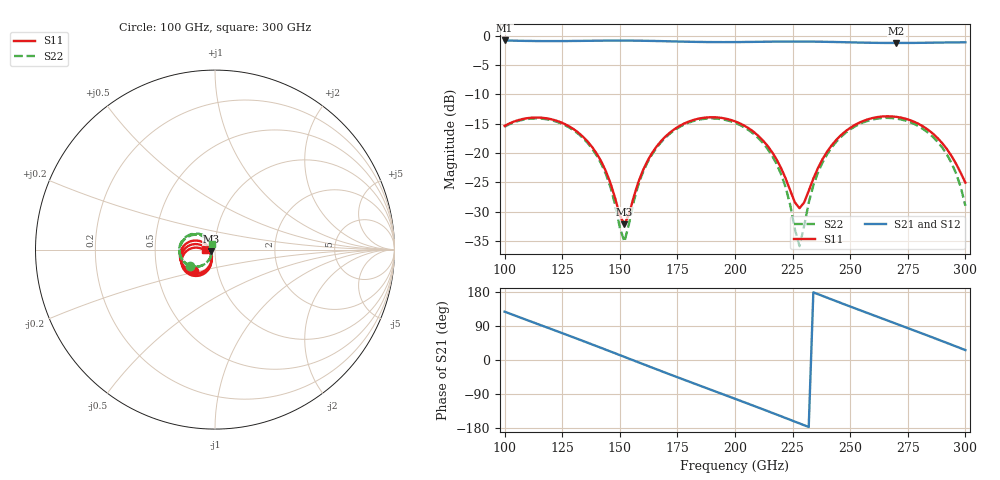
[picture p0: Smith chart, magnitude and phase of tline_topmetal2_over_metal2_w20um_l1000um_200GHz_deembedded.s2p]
! Created with skrf 2.0.1 (http://scikit-rf.org).
# GHz S DB R 50.0
!freq dBS11 angS11 dBS21 angS21 dBS12 angS12 dBS22 angS22
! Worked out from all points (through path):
!   101 points, 100 GHz to 300 GHz, reference 50 ohm
!   highest |S21| = -0.81 dB at 100 GHz (marker M1); lowest = -1.2 dB at 270 GHz (marker M2)
!   group delay of S21, straight-line fit = 6.42 ps
!   lowest |S11| = -32.2 dB at 152 GHz (marker M3), VSWR 1.05, Z = 47.8 - j0.88 ohm
!   |S11| at or under -10 dB: start of sweep to end of sweep
!   |S22| runs from -35.9 to -14.0 dB; largest |S21 - S12| = 1.1e-14
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100  -15.37 -134.6  -0.81 127.6  -0.81 127.6  -15.50 -146.2
116  -13.98 -166.5  -0.92 91.2  -0.92 91.2  -14.13 179.3
134  -17.21 159.6  -0.88 50.3  -0.88 50.3  -17.44 141.7
144  -23.13 148.6  -0.84 27.0  -0.84 27.0  -23.62 126.7
152  -32.15 -158.1  -0.83 8.2  -0.83 8.2  -35.11 -173.0
160  -22.99 -107.0  -0.86 -10.6  -0.86 -10.6  -23.30 -120.6
168  -17.92 -114.9  -0.92 -29.3  -0.92 -29.3  -18.11 -132.3
184  -14.15 -143.5  -1.06 -66.0  -1.06 -66.0  -14.34 -165.1
200  -14.59 -173.4  -1.09 -102.3  -1.09 -102.3  -14.85 160.8
210  -17.02 169.8  -1.04 -125.2  -1.04 -125.2  -17.40 140.3
218  -21.05 161.8  -1.01 -143.8  -1.01 -143.8  -21.81 126.6
222  -24.35 164.9  -0.99 -153.2  -0.99 -153.2  -25.86 124.4
228  -29.39 -152.1  -0.99 -167.3  -0.99 -167.3  -35.87 -174.3
234  -24.36 -108.6  -1.01 178.5  -1.01 178.5  -25.52 -119.5
240  -19.75 -106.3  -1.05 164.4  -1.05 164.4  -20.18 -125.2
248  -16.28 -116.2  -1.12 145.8  -1.12 145.8  -16.55 -140.2
268  -13.75 -151.0  -1.24 100.1  -1.24 100.1  -14.03 177.3
270  -13.82 -154.5  -1.24 95.6  -1.24 95.6  -14.12 173.0
280  -15.09 -171.5  -1.22 72.8  -1.22 72.8  -15.49 151.5
290  -18.33 175.3  -1.16 49.7  -1.16 49.7  -19.09 131.1
296  -21.86 174.7  -1.14 35.6  -1.14 35.6  -23.50 121.8
300  -25.04 -175.0  -1.13 26.2  -1.13 26.2  -28.99 122.9
